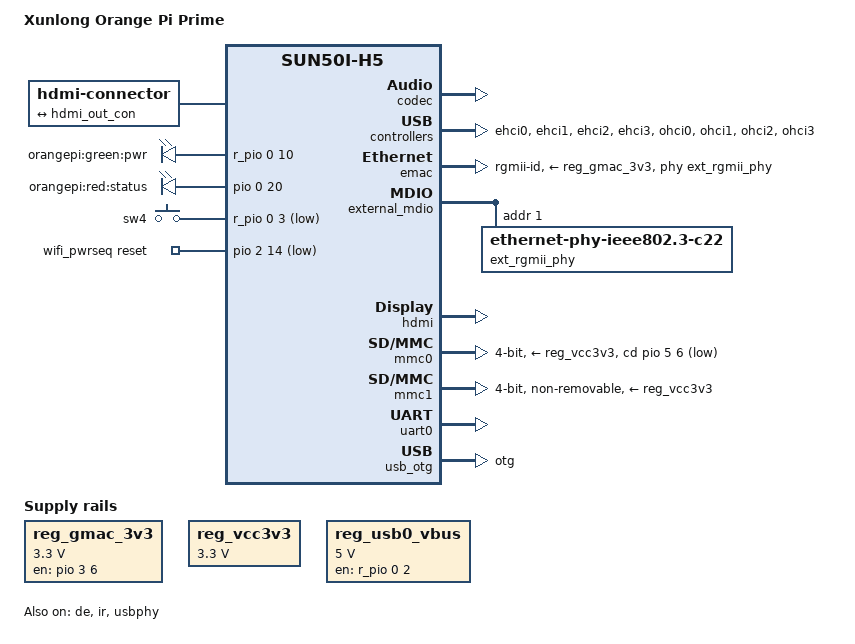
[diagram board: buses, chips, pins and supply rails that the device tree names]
// SPDX-License-Identifier: (GPL-2.0+ OR MIT)
// Copyright (C) 2017 Icenowy Zheng <icenowy@aosc.xyz>
// Based on sun50i-h5-orangepi-pc2.dts, which is:
//   Copyright (C) 2016 ARM Ltd.

/dts-v1/;
#include "sun50i-h5.dtsi"

#include <dt-bindings/gpio/gpio.h>
#include <dt-bindings/input/input.h>

/ {
	model = "Xunlong Orange Pi Prime";
	compatible = "xunlong,orangepi-prime", "allwinner,sun50i-h5";

	aliases {
		ethernet0 = &emac;
		serial0 = &uart0;
	};

	chosen {
		stdout-path = "serial0:115200n8";
	};

	connector {
		compatible = "hdmi-connector";
		type = "a";

		port {
			hdmi_con_in: endpoint {
				remote-endpoint = <&hdmi_out_con>;
			};
		};
	};

	leds {
		compatible = "gpio-leds";

		led-0 {
			label = "orangepi:green:pwr";
			gpios = <&r_pio 0 10 GPIO_ACTIVE_HIGH>;
			default-state = "on";
		};

		led-1 {
			label = "orangepi:red:status";
			gpios = <&pio 0 20 GPIO_ACTIVE_HIGH>;
		};
	};

	gpio-keys {
		compatible = "gpio-keys";

		key-sw4 {
			label = "sw4";
			linux,code = <BTN_0>;
			gpios = <&r_pio 0 3 GPIO_ACTIVE_LOW>;
		};
	};

	reg_gmac_3v3: gmac-3v3 {
		compatible = "regulator-fixed";
		regulator-name = "gmac-3v3";
		regulator-min-microvolt = <3300000>;
		regulator-max-microvolt = <3300000>;
		startup-delay-us = <100000>;
		enable-active-high;
		gpio = <&pio 3 6 GPIO_ACTIVE_HIGH>;
	};

	reg_vcc3v3: vcc3v3 {
		compatible = "regulator-fixed";
		regulator-name = "vcc3v3";
		regulator-min-microvolt = <3300000>;
		regulator-max-microvolt = <3300000>;
	};

	reg_usb0_vbus: usb0-vbus {
		compatible = "regulator-fixed";
		regulator-name = "usb0-vbus";
		regulator-min-microvolt = <5000000>;
		regulator-max-microvolt = <5000000>;
		enable-active-high;
		gpio = <&r_pio 0 2 GPIO_ACTIVE_HIGH>; /* PL2 */
		status = "okay";
	};

	wifi_pwrseq: wifi_pwrseq {
		compatible = "mmc-pwrseq-simple";
		reset-gpios = <&pio 2 14 GPIO_ACTIVE_LOW>; /* PC14 */
	};
};

&codec {
	allwinner,audio-routing =
		"Line Out", "LINEOUT",
		"MIC1", "Mic",
		"Mic",  "MBIAS";
	status = "okay";
};

&de {
	status = "okay";
};

&ehci0 {
	status = "okay";
};

&ehci1 {
	status = "okay";
};

&ehci2 {
	status = "okay";
};

&ehci3 {
	status = "okay";
};

&emac {
	pinctrl-names = "default";
	pinctrl-0 = <&emac_rgmii_pins>;
	phy-supply = <&reg_gmac_3v3>;
	phy-handle = <&ext_rgmii_phy>;
	phy-mode = "rgmii-id";
	status = "okay";
};

&external_mdio {
	ext_rgmii_phy: ethernet-phy@1 {
		compatible = "ethernet-phy-ieee802.3-c22";
		reg = <1>;
	};
};

&hdmi {
	status = "okay";
};

&hdmi_out {
	hdmi_out_con: endpoint {
		remote-endpoint = <&hdmi_con_in>;
	};
};

&ir {
	pinctrl-names = "default";
	pinctrl-0 = <&r_ir_rx_pin>;
	status = "okay";
};

&mmc0 {
	vmmc-supply = <&reg_vcc3v3>;
	bus-width = <4>;
	cd-gpios = <&pio 5 6 GPIO_ACTIVE_LOW>; /* PF6 */
	status = "okay";
};

&mmc1 {
	vmmc-supply = <&reg_vcc3v3>;
	mmc-pwrseq = <&wifi_pwrseq>;
	bus-width = <4>;
	non-removable;
	status = "okay";
};

&ohci0 {
	status = "okay";
};

&ohci1 {
	status = "okay";
};

&ohci2 {
	status = "okay";
};

&ohci3 {
	status = "okay";
};

&uart0 {
	pinctrl-names = "default";
	pinctrl-0 = <&uart0_pa_pins>;
	status = "okay";
};

&uart1 {
	pinctrl-names = "default";
	pinctrl-0 = <&uart1_pins>;
	status = "disabled";
};

&uart2 {
	pinctrl-names = "default";
	pinctrl-0 = <&uart2_pins>;
	status = "disabled";
};

&usb_otg {
	dr_mode = "otg";
	status = "okay";
};

&usbphy {
	/* USB Type-A ports' VBUS is always on */
	usb0_id_det-gpios = <&pio 0 21 GPIO_ACTIVE_HIGH>; /* PA21 */
	usb0_vbus-supply = <&reg_usb0_vbus>;
	status = "okay";
};
